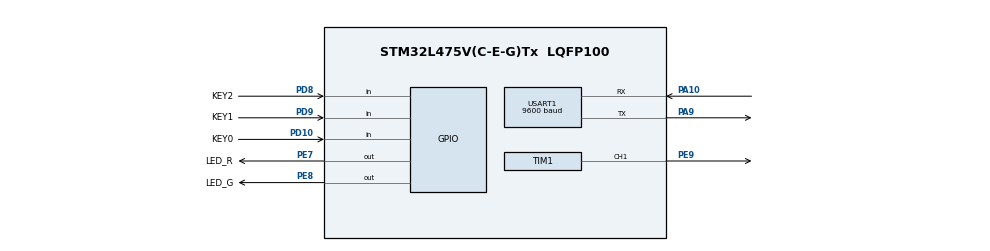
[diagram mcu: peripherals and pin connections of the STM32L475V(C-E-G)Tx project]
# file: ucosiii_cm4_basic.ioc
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Mcu.Family=STM32L4
Mcu.Name=STM32L475V(C-E-G)Tx
Mcu.Package=LQFP100
NVIC.PriorityGroup=NVIC_PRIORITYGROUP_4
NVIC.USART1_IRQn=true\:0\:0\:false\:false\:true\:true\:true
PA10.Mode=Asynchronous
PA10.Signal=USART1_RX
PA13\ (JTMS-SWDIO).Mode=Serial_Wire
PA13\ (JTMS-SWDIO).Signal=SYS_JTMS-SWDIO
PA14\ (JTCK-SWCLK).Mode=Serial_Wire
PA14\ (JTCK-SWCLK).Signal=SYS_JTCK-SWCLK
PA9.Mode=Asynchronous
PA9.Signal=USART1_TX
PD10.GPIO_Label=KEY0
PD10.Signal=GPIO_Input
PD8.GPIO_Label=KEY2
PD8.Signal=GPIO_Input
PD9.GPIO_Label=KEY1
PD9.Signal=GPIO_Input
PE7.GPIO_Label=LED_R
PE7.GPIO_PuPd=GPIO_PULLUP
PE7.PinState=GPIO_PIN_SET
PE7.Signal=GPIO_Output
PE8.GPIO_Label=LED_G
PE8.GPIO_PuPd=GPIO_PULLUP
PE8.PinState=GPIO_PIN_SET
PE8.Signal=GPIO_Output
PE9.Signal=S_TIM1_CH1
PH0-OSC_IN\ (PH0).Mode=HSE-External-Oscillator
PH0-OSC_IN\ (PH0).Signal=RCC_OSC_IN
PH1-OSC_OUT\ (PH1).Mode=HSE-External-Oscillator
PH1-OSC_OUT\ (PH1).Signal=RCC_OSC_OUT
ProjectManager.HeapSize=0x200
ProjectManager.StackSize=0x400
ProjectManager.TargetToolchain=Makefile
RCC.AHBFreq_Value=80000000
RCC.APB1Freq_Value=80000000
RCC.APB1TimFreq_Value=80000000
RCC.APB2Freq_Value=80000000
RCC.APB2TimFreq_Value=80000000
RCC.CortexFreq_Value=80000000
RCC.HCLKFreq_Value=80000000
RCC.HSE_VALUE=8000000
RCC.HSI_VALUE=16000000
RCC.LSE_VALUE=32768
RCC.MSI_VALUE=4000000
RCC.PLLN=40
RCC.SYSCLKFreq_VALUE=80000000
RCC.SYSCLKSource=RCC_SYSCLKSOURCE_PLLCLK
RCC.VCOOutputFreq_Value=160000000
SH.S_TIM1_CH1.0=TIM1_CH1,PWM Generation1 CH1
TIM1.Channel-PWM\ Generation1\ CH1=TIM_CHANNEL_1
TIM1.OCIdleState_1=TIM_OCIDLESTATE_SET
TIM1.OCPolarity_1=TIM_OCPOLARITY_LOW
TIM1.Period=1999
TIM1.Prescaler=799
TIM1.Pulse-PWM\ Generation1\ CH1=1000
USART1.BaudRate=9600
USART1.VirtualMode-Asynchronous=VM_ASYNC
VP_TIM1_VS_ClockSourceINT.Mode=Internal
board=custom

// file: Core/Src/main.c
/* USER CODE BEGIN Header */
/**
  ******************************************************************************
  * @file           : main.c
  * @brief          : Main program body
  ******************************************************************************
  * @attention
  *
  * <h2><center>&copy; Copyright (c) 2020 STMicroelectronics.
  * All rights reserved.</center></h2>
  *
  * This software component is licensed by ST under BSD 3-Clause license,
  * the "License"; You may not use this file except in compliance with the
  * License. You may obtain a copy of the License at:
  *                        opensource.org/licenses/BSD-3-Clause
  *
  ******************************************************************************
  */
/* USER CODE END Header */
#include "main.h"

/* USER CODE BEGIN Includes */
#include <stdio.h>
#include <string.h>

#include "pwm.h"
#include "print.h"

#include "cpu.h"
#include "os.h"
#include "lib_mem.h"

#include "os_app_hooks.h"
/* USER CODE END Includes */

/* USER CODE BEGIN PM */

#define BSP_ENABLE_SYSTICK()   do { SysTick->CTRL |= 0x00000003u;} while (0)
#define BSP_DISABLE_SYSTICK()    do { SysTick->CTRL &= ~0x00000003u;} while(0)

#define TASK_STK_SIZE  128u
#define TASK_STK_LEFT_SIZE    12u

/* USER CODE END PM */

/* USER CODE BEGIN PV */

static  OS_TCB task1TCB;
static  CPU_STK task1STK[TASK_STK_SIZE];
static  OS_TCB task2TCB;
static  CPU_STK task2STK[TASK_STK_SIZE];

/* USER CODE END PV */

void SystemClock_Config(void);
static void MX_GPIO_Init(void);
static void MX_USART1_UART_Init(void);
static void MX_TIM1_Init(void);
/* USER CODE BEGIN PFP */
static void BSP_OSTick_Init(void);
/* USER CODE END PFP */

/* USER CODE BEGIN 0 */

static void task_one(void *argc)
{
    OS_ERR task_one_err;
    (void)argc;

    BSP_ENABLE_SYSTICK();

    while (1) {
        LL_GPIO_SetOutputPin(LED_R_GPIO_Port, LED_R_Pin);
        OSTimeDlyHMSM(0, 0, 0, 500, OS_OPT_TIME_DLY, &task_one_err);
        LL_GPIO_ResetOutputPin(LED_R_GPIO_Port, LED_R_Pin);
        OSTimeDlyHMSM(0, 0, 0, 500, OS_OPT_TIME_DLY, &task_one_err);
    }
}

static void task_two(void *argc)
{
    OS_ERR task_two_err;
    (void)argc;

    while (1) {
        printf("CALL task two\r\n");
        OSTimeDly(1000, OS_OPT_TIME_DLY, &task_two_err);
    }
}

/* USER CODE END 0 */

int main(void)
{

  /* MCU Configuration--------------------------------------------------------*/

  /* Reset of all peripherals, Initializes the Flash interface and the Systick. */

  LL_APB2_GRP1_EnableClock(LL_APB2_GRP1_PERIPH_SYSCFG);
  LL_APB1_GRP1_EnableClock(LL_APB1_GRP1_PERIPH_PWR);

  NVIC_SetPriorityGrouping(NVIC_PRIORITYGROUP_4);

  /* System interrupt init*/

  /* Configure the system clock */
  SystemClock_Config();

  /* Initialize all configured peripherals */
  MX_GPIO_Init();
  MX_USART1_UART_Init();
  MX_TIM1_Init();
  /* USER CODE BEGIN 2 */

#if 0
  const static char *str = "stm32 ll lib USART test!!!\r\n";
  const uint16_t str_len = strlen(str) + 1;

  // enable USART receive irq
  LL_USART_EnableIT_RXNE(USART1);

  uint16_t pwm_val = 0;
  int16_t step = 0;

  printf("%s", str);
#else
  OS_ERR os_err;

  print_init();

  printf("UART test\r\n");

  BSP_OSTick_Init();

  Mem_Init();
  CPU_IntDis();
  CPU_Init();

  OSInit(&os_err);
  if (os_err != OS_ERR_NONE) {
    printf("OS Init ERR %d\r\n", os_err);
    while (1) {
        __NOP();
    }
  }

  // Enable hook functions
  App_OS_SetAllHooks();

  OSTaskCreate(&task1TCB, "task one", task_one, NULL, 4, &task1STK[0],  \
                        TASK_STK_LEFT_SIZE, TASK_STK_SIZE, 0, 0, NULL,  \
                        (OS_OPT_TASK_STK_CHK | OS_OPT_TASK_STK_CLR),    \
                        &os_err);
  if (os_err != OS_ERR_NONE) {
    printf("TASK two Create ERR:%d\r\n", os_err);
  }
  OSTaskCreate(&task2TCB, "task two", task_two, NULL, 4, &task2STK[0],  \
                        TASK_STK_LEFT_SIZE, TASK_STK_SIZE, 0, 0, NULL,  \
                        (OS_OPT_TASK_STK_CHK | OS_OPT_TASK_STK_CLR),    \
                        &os_err);
  if (os_err != OS_ERR_NONE) {
    printf("TASK two Create ERR:%d\r\n", os_err);
  }

  OSStart(&os_err);
#endif

  /* USER CODE END 2 */

  /* Infinite loop */
  while (1)
  {

    /* USER CODE BEGIN 3 */
#if 0
	// uart_tx_datas(str, str_len);
    pwm_set_value(pwm_val);
    if (0 == pwm_val)
        step = 2;
    if (1000 <= pwm_val)
        step = -2;
    pwm_val += step;
    LL_mDelay(3);
#endif
  }
  /* USER CODE END 3 */
}

void SystemClock_Config(void)
{
  LL_FLASH_SetLatency(LL_FLASH_LATENCY_4);
  while(LL_FLASH_GetLatency()!= LL_FLASH_LATENCY_4)
  {
  }
  LL_PWR_SetRegulVoltageScaling(LL_PWR_REGU_VOLTAGE_SCALE1);
  LL_RCC_MSI_Enable();

   /* Wait till MSI is ready */
  while(LL_RCC_MSI_IsReady() != 1)
  {

  }
  LL_RCC_MSI_EnableRangeSelection();
  LL_RCC_MSI_SetRange(LL_RCC_MSIRANGE_6);
  LL_RCC_MSI_SetCalibTrimming(0);
  LL_RCC_PLL_ConfigDomain_SYS(LL_RCC_PLLSOURCE_MSI, LL_RCC_PLLM_DIV_1, 40, LL_RCC_PLLR_DIV_2);
  LL_RCC_PLL_EnableDomain_SYS();
  LL_RCC_PLL_Enable();

   /* Wait till PLL is ready */
  while(LL_RCC_PLL_IsReady() != 1)
  {

  }
  LL_RCC_SetSysClkSource(LL_RCC_SYS_CLKSOURCE_PLL);

   /* Wait till System clock is ready */
  while(LL_RCC_GetSysClkSource() != LL_RCC_SYS_CLKSOURCE_STATUS_PLL)
  {

  }
  LL_RCC_SetAHBPrescaler(LL_RCC_SYSCLK_DIV_1);
  LL_RCC_SetAPB1Prescaler(LL_RCC_APB1_DIV_1);
  LL_RCC_SetAPB2Prescaler(LL_RCC_APB2_DIV_1);

  LL_Init1msTick(80000000);

  LL_SetSystemCoreClock(80000000);
  LL_RCC_SetUSARTClockSource(LL_RCC_USART1_CLKSOURCE_PCLK2);
}

static void MX_TIM1_Init(void)
{

  LL_TIM_InitTypeDef TIM_InitStruct = {0};
  LL_TIM_OC_InitTypeDef TIM_OC_InitStruct = {0};
  LL_TIM_BDTR_InitTypeDef TIM_BDTRInitStruct = {0};

  LL_GPIO_InitTypeDef GPIO_InitStruct = {0};

  /* Peripheral clock enable */
  LL_APB2_GRP1_EnableClock(LL_APB2_GRP1_PERIPH_TIM1);

  TIM_InitStruct.Prescaler = 799;
  TIM_InitStruct.CounterMode = LL_TIM_COUNTERMODE_UP;
  TIM_InitStruct.Autoreload = 1999;
  TIM_InitStruct.ClockDivision = LL_TIM_CLOCKDIVISION_DIV1;
  TIM_InitStruct.RepetitionCounter = 0;
  LL_TIM_Init(TIM1, &TIM_InitStruct);
  LL_TIM_DisableARRPreload(TIM1);
  LL_TIM_SetClockSource(TIM1, LL_TIM_CLOCKSOURCE_INTERNAL);
  LL_TIM_OC_EnablePreload(TIM1, LL_TIM_CHANNEL_CH1);
  TIM_OC_InitStruct.OCMode = LL_TIM_OCMODE_PWM1;
  TIM_OC_InitStruct.OCState = LL_TIM_OCSTATE_DISABLE;
  TIM_OC_InitStruct.OCNState = LL_TIM_OCSTATE_DISABLE;
  TIM_OC_InitStruct.CompareValue = 1000;
  TIM_OC_InitStruct.OCPolarity = LL_TIM_OCPOLARITY_LOW;
  TIM_OC_InitStruct.OCNPolarity = LL_TIM_OCPOLARITY_HIGH;
  TIM_OC_InitStruct.OCIdleState = LL_TIM_OCIDLESTATE_HIGH;
  TIM_OC_InitStruct.OCNIdleState = LL_TIM_OCIDLESTATE_LOW;
  LL_TIM_OC_Init(TIM1, LL_TIM_CHANNEL_CH1, &TIM_OC_InitStruct);
  LL_TIM_OC_DisableFast(TIM1, LL_TIM_CHANNEL_CH1);
  LL_TIM_SetOCRefClearInputSource(TIM1, LL_TIM_OCREF_CLR_INT_NC);
  LL_TIM_DisableExternalClock(TIM1);
  LL_TIM_ConfigETR(TIM1, LL_TIM_ETR_POLARITY_NONINVERTED, LL_TIM_ETR_PRESCALER_DIV1, LL_TIM_ETR_FILTER_FDIV1);
  LL_TIM_SetTriggerOutput(TIM1, LL_TIM_TRGO_RESET);
  LL_TIM_SetTriggerOutput2(TIM1, LL_TIM_TRGO2_RESET);
  LL_TIM_DisableMasterSlaveMode(TIM1);
  TIM_BDTRInitStruct.OSSRState = LL_TIM_OSSR_DISABLE;
  TIM_BDTRInitStruct.OSSIState = LL_TIM_OSSI_DISABLE;
  TIM_BDTRInitStruct.LockLevel = LL_TIM_LOCKLEVEL_OFF;
  TIM_BDTRInitStruct.DeadTime = 0;
  TIM_BDTRInitStruct.BreakState = LL_TIM_BREAK_DISABLE;
  TIM_BDTRInitStruct.BreakPolarity = LL_TIM_BREAK_POLARITY_HIGH;
  TIM_BDTRInitStruct.BreakFilter = LL_TIM_BREAK_FILTER_FDIV1;
  TIM_BDTRInitStruct.Break2State = LL_TIM_BREAK2_DISABLE;
  TIM_BDTRInitStruct.Break2Polarity = LL_TIM_BREAK2_POLARITY_HIGH;
  TIM_BDTRInitStruct.Break2Filter = LL_TIM_BREAK2_FILTER_FDIV1;
  TIM_BDTRInitStruct.AutomaticOutput = LL_TIM_AUTOMATICOUTPUT_DISABLE;
  LL_TIM_BDTR_Init(TIM1, &TIM_BDTRInitStruct);
  LL_AHB2_GRP1_EnableClock(LL_AHB2_GRP1_PERIPH_GPIOE);
  /**TIM1 GPIO Configuration
  PE9   ------> TIM1_CH1
  */
  GPIO_InitStruct.Pin = LL_GPIO_PIN_9;
  GPIO_InitStruct.Mode = LL_GPIO_MODE_ALTERNATE;
  GPIO_InitStruct.Speed = LL_GPIO_SPEED_FREQ_LOW;
  GPIO_InitStruct.OutputType = LL_GPIO_OUTPUT_PUSHPULL;
  GPIO_InitStruct.Pull = LL_GPIO_PULL_NO;
  GPIO_InitStruct.Alternate = LL_GPIO_AF_1;
  LL_GPIO_Init(GPIOE, &GPIO_InitStruct);

}

static void MX_USART1_UART_Init(void)
{

  LL_USART_InitTypeDef USART_InitStruct = {0};

  LL_GPIO_InitTypeDef GPIO_InitStruct = {0};

  /* Peripheral clock enable */
  LL_APB2_GRP1_EnableClock(LL_APB2_GRP1_PERIPH_USART1);

  LL_AHB2_GRP1_EnableClock(LL_AHB2_GRP1_PERIPH_GPIOA);
  /**USART1 GPIO Configuration
  PA9   ------> USART1_TX
  PA10   ------> USART1_RX
  */
  GPIO_InitStruct.Pin = LL_GPIO_PIN_9|LL_GPIO_PIN_10;
  GPIO_InitStruct.Mode = LL_GPIO_MODE_ALTERNATE;
  GPIO_InitStruct.Speed = LL_GPIO_SPEED_FREQ_VERY_HIGH;
  GPIO_InitStruct.OutputType = LL_GPIO_OUTPUT_PUSHPULL;
  GPIO_InitStruct.Pull = LL_GPIO_PULL_NO;
  GPIO_InitStruct.Alternate = LL_GPIO_AF_7;
  LL_GPIO_Init(GPIOA, &GPIO_InitStruct);

  /* USART1 interrupt Init */
  NVIC_SetPriority(USART1_IRQn, NVIC_EncodePriority(NVIC_GetPriorityGrouping(),0, 0));
  NVIC_EnableIRQ(USART1_IRQn);

  USART_InitStruct.BaudRate = 9600;
  USART_InitStruct.DataWidth = LL_USART_DATAWIDTH_8B;
  USART_InitStruct.StopBits = LL_USART_STOPBITS_1;
  USART_InitStruct.Parity = LL_USART_PARITY_NONE;
  USART_InitStruct.TransferDirection = LL_USART_DIRECTION_TX_RX;
  USART_InitStruct.HardwareFlowControl = LL_USART_HWCONTROL_NONE;
  USART_InitStruct.OverSampling = LL_USART_OVERSAMPLING_16;
  LL_USART_Init(USART1, &USART_InitStruct);
  LL_USART_ConfigAsyncMode(USART1);
  LL_USART_Enable(USART1);

}

static void MX_GPIO_Init(void)
{
  LL_GPIO_InitTypeDef GPIO_InitStruct = {0};

  /* GPIO Ports Clock Enable */
  LL_AHB2_GRP1_EnableClock(LL_AHB2_GRP1_PERIPH_GPIOH);
  LL_AHB2_GRP1_EnableClock(LL_AHB2_GRP1_PERIPH_GPIOE);
  LL_AHB2_GRP1_EnableClock(LL_AHB2_GRP1_PERIPH_GPIOD);
  LL_AHB2_GRP1_EnableClock(LL_AHB2_GRP1_PERIPH_GPIOA);

  /**/
  LL_GPIO_SetOutputPin(GPIOE, LED_R_Pin|LED_G_Pin);

  /**/
  GPIO_InitStruct.Pin = LED_R_Pin|LED_G_Pin;
  GPIO_InitStruct.Mode = LL_GPIO_MODE_OUTPUT;
  GPIO_InitStruct.Speed = LL_GPIO_SPEED_FREQ_LOW;
  GPIO_InitStruct.OutputType = LL_GPIO_OUTPUT_PUSHPULL;
  GPIO_InitStruct.Pull = LL_GPIO_PULL_UP;
  LL_GPIO_Init(GPIOE, &GPIO_InitStruct);

  /**/
  GPIO_InitStruct.Pin = KEY2_Pin|KEY1_Pin|KEY0_Pin;
  GPIO_InitStruct.Mode = LL_GPIO_MODE_INPUT;
  GPIO_InitStruct.Pull = LL_GPIO_PULL_NO;
  LL_GPIO_Init(GPIOD, &GPIO_InitStruct);

}

/* USER CODE BEGIN 4 */

static void BSP_OSTick_Init(void)
{
    LL_RCC_ClocksTypeDef rcc_clk;
    CPU_INT32U cpu_freq;

    CPU_SR_ALLOC();
    LL_RCC_GetSystemClocksFreq(&rcc_clk);
    cpu_freq = rcc_clk.HCLK_Frequency;

    CPU_CRITICAL_ENTER();
    OS_CPU_SysTickInitFreq(cpu_freq);
    // Disable System tick befor user task begin
    BSP_DISABLE_SYSTICK();
    CPU_CRITICAL_EXIT();
}

#if DBG_ON == 1
// LED blink periodic
void DBG_LED_Blink(GPIO_TypeDef *port, uint32_t pin, uint32_t delay_ms)
{
    LL_GPIO_ResetOutputPin(port, pin);
    LL_mDelay(delay_ms);
    LL_GPIO_SetOutputPin(port, pin);
    LL_mDelay(delay_ms);
}
#endif

// USART1 transmit data
void uart_tx_datas(const uint8_t *buf, uint16_t len)
{
    const uint8_t *ptr = buf;

    for (uint16_t i = 0; i < len; ++i) {
        LL_USART_TransmitData8(USART1, ptr[i]);
        // wait data byte transmit ok
        while (!LL_USART_IsActiveFlag_TXE(USART1))
            ;
    }
    // wait for last frame transmited done
    while (!LL_USART_IsActiveFlag_TC(USART1))
        ;
}

// USART1 receive data
void uart_rx_datas(uint8_t *buf, uint16_t len)
{
    for (uint16_t i = 0; i < len; ++i) {
        while (!LL_USART_IsActiveFlag_RXNE(USART1))
            ;
        buf[i] = LL_USART_ReceiveData8(USART1);
    }
}

/* USER CODE END 4 */

void Error_Handler(void)
{
}

/************************ (C) COPYRIGHT STMicroelectronics *****END OF FILE****/
